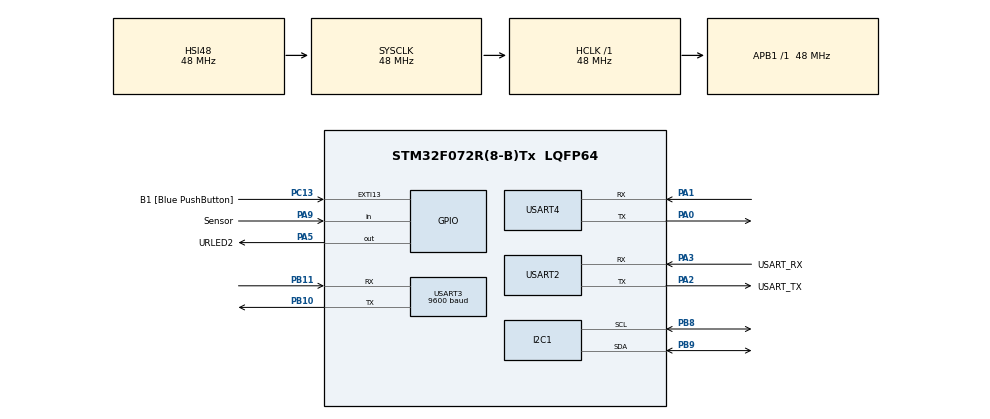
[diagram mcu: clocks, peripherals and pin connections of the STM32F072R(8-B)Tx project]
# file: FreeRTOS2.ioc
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Dma.Request0=USART3_RX
Dma.Request1=USART3_TX
Dma.USART3_RX.0.Direction=DMA_PERIPH_TO_MEMORY
Dma.USART3_RX.0.Instance=DMA1_Channel3
Dma.USART3_RX.0.MemDataAlignment=DMA_MDATAALIGN_BYTE
Dma.USART3_RX.0.MemInc=DMA_MINC_ENABLE
Dma.USART3_RX.0.Mode=DMA_CIRCULAR
Dma.USART3_RX.0.PeriphDataAlignment=DMA_PDATAALIGN_BYTE
Dma.USART3_RX.0.PeriphInc=DMA_PINC_DISABLE
Dma.USART3_RX.0.Priority=DMA_PRIORITY_LOW
Dma.USART3_TX.1.Direction=DMA_MEMORY_TO_PERIPH
Dma.USART3_TX.1.Instance=DMA1_Channel2
Dma.USART3_TX.1.MemDataAlignment=DMA_MDATAALIGN_BYTE
Dma.USART3_TX.1.MemInc=DMA_MINC_ENABLE
Dma.USART3_TX.1.Mode=DMA_NORMAL
Dma.USART3_TX.1.PeriphDataAlignment=DMA_PDATAALIGN_BYTE
Dma.USART3_TX.1.PeriphInc=DMA_PINC_DISABLE
Dma.USART3_TX.1.Priority=DMA_PRIORITY_LOW
FREERTOS.Tasks01=defaultTask,0,128,StartDefaultTask,Default,NULL,Dynamic,NULL,NULL
Mcu.Family=STM32F0
Mcu.Name=STM32F072R(8-B)Tx
Mcu.Package=LQFP64
NVIC.DMA1_Channel2_3_IRQn=true\:3\:0\:false\:false\:true\:true\:false\:true
NVIC.TIM6_DAC_IRQn=true\:0\:0\:false\:false\:true\:false\:false\:true
NVIC.TIM7_IRQn=true\:3\:0\:false\:false\:true\:true\:true\:true
NVIC.TimeBase=TIM6_DAC_IRQn
NVIC.TimeBaseIP=TIM6
NVIC.USART3_4_IRQn=true\:3\:0\:false\:false\:true\:true\:true\:true
PA0.Mode=Asynchronous
PA0.Signal=USART4_TX
PA1.Mode=Asynchronous
PA1.Signal=USART4_RX
PA13.GPIO_Label=TMS
PA13.Mode=Serial_Wire
PA13.Signal=SYS_SWDIO
PA14.GPIO_Label=TCK
PA14.Mode=Serial_Wire
PA14.Signal=SYS_SWCLK
PA2.GPIO_Label=USART_TX
PA2.GPIO_Mode=GPIO_MODE_AF_PP
PA2.GPIO_PuPd=GPIO_NOPULL
PA2.GPIO_Speed=GPIO_SPEED_FREQ_LOW
PA2.Mode=Asynchronous
PA2.Signal=USART2_TX
PA3.GPIO_Label=USART_RX
PA3.GPIO_Mode=GPIO_MODE_AF_PP
PA3.GPIO_PuPd=GPIO_NOPULL
PA3.GPIO_Speed=GPIO_SPEED_FREQ_LOW
PA3.Mode=Asynchronous
PA3.Signal=USART2_RX
PA5.GPIO_Label=URLED2
PA5.GPIO_Mode=GPIO_MODE_OUTPUT_PP
PA5.GPIO_PuPd=GPIO_NOPULL
PA5.GPIO_Speed=GPIO_SPEED_FREQ_LOW
PA5.Signal=GPIO_Output
PA9.GPIO_Label=Sensor
PA9.Signal=GPIO_Input
PB10.Mode=Asynchronous
PB10.Signal=USART3_TX
PB11.Mode=Asynchronous
PB11.Signal=USART3_RX
PB8.Mode=I2C
PB8.Signal=I2C1_SCL
PB9.Mode=I2C
PB9.Signal=I2C1_SDA
PC13.GPIO_Label=B1 [Blue PushButton]
PC13.GPIO_ModeDefaultEXTI=GPIO_MODE_IT_FALLING
PC13.Signal=GPXTI13
PC14-OSC32_IN.Mode=LSE-External-Oscillator
PC14-OSC32_IN.Signal=RCC_OSC32_IN
PC15-OSC32_OUT.Mode=LSE-External-Oscillator
PC15-OSC32_OUT.Signal=RCC_OSC32_OUT
PF0-OSC_IN.Mode=HSE-External-Clock-Source
PF0-OSC_IN.Signal=RCC_OSC_IN
PF1-OSC_OUT.Signal=RCC_OSC_OUT
ProjectManager.HeapSize=0x200
ProjectManager.StackSize=0x400
ProjectManager.TargetToolchain=STM32CubeIDE
RCC.AHBFreq_Value=48000000
RCC.APB1Freq_Value=48000000
RCC.APB1TimFreq_Value=48000000
RCC.FLatency-AdvancedSettings=FLASH_LATENCY_1
RCC.HCLKFreq_Value=48000000
RCC.PLLDivider=RCC_PREDIV_DIV2
RCC.PLLMUL=RCC_PLL_MUL12
RCC.PREFETCH_ENABLE-AdvancedSettings=1
RCC.SYSCLKFreq_VALUE=48000000
RCC.SYSCLKSource=RCC_SYSCLKSOURCE_HSI48
TIM7.Period=9999
TIM7.Prescaler=47
USART2.VirtualMode=VM_ASYNC
USART2.VirtualMode-Asynchronous=VM_ASYNC
USART3.BaudRate=9600
USART3.VirtualMode-Asynchronous=VM_ASYNC
USART4.VirtualMode-Asynchronous=VM_ASYNC
VP_FREERTOS_VS_CMSIS_V1.Mode=CMSIS_V1
VP_SYS_VS_tim6.Mode=TIM6
VP_TIM7_VS_ClockSourceINT.Mode=Enable_Timer
board=NUCLEO-F072RB

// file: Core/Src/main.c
/* USER CODE BEGIN Header */
/**
  ******************************************************************************
  * @file           : main.c
  * @brief          : Main program body
  ******************************************************************************
  * @attention
  *
  * <h2><center>&copy; Copyright (c) 2020 STMicroelectronics.
  * All rights reserved.</center></h2>
  *
  * This software component is licensed by ST under BSD 3-Clause license,
  * the "License"; You may not use this file except in compliance with the
  * License. You may obtain a copy of the License at:
  *                        opensource.org/licenses/BSD-3-Clause
  *
  ******************************************************************************
  */
/* USER CODE END Header */
#include "main.h"
#include "cmsis_os.h"
#include "dma.h"
#include "i2c.h"
#include "tim.h"
#include "usart.h"
#include "gpio.h"

/* USER CODE BEGIN Includes */
#include <stdio.h>
/* USER CODE END Includes */

void SystemClock_Config(void);
void MX_FREERTOS_Init(void);

/* USER CODE BEGIN 0 */
int __io_putchar(int ch) {
	while(HAL_OK != HAL_UART_Transmit(&huart2, (uint8_t*)&ch, 1, 30000)) {

	}

	return ch;
}
/* USER CODE END 0 */

int main(void)
{

  /* MCU Configuration--------------------------------------------------------*/

  /* Reset of all peripherals, Initializes the Flash interface and the Systick. */
  HAL_Init();

  /* Configure the system clock */
  SystemClock_Config();

  /* Initialize all configured peripherals */
  MX_GPIO_Init();
  MX_DMA_Init();
  MX_USART2_UART_Init();
  MX_I2C1_Init();
  MX_USART3_UART_Init();
  MX_TIM7_Init();
  MX_USART4_UART_Init();

  /* Call init function for freertos objects (in freertos.c) */
  MX_FREERTOS_Init();
  /* Start scheduler */
  osKernelStart();

  /* We should never get here as control is now taken by the scheduler */
  /* Infinite loop */
  while (1)
  {

  }
}

void SystemClock_Config(void)
{
  RCC_OscInitTypeDef RCC_OscInitStruct = {0};
  RCC_ClkInitTypeDef RCC_ClkInitStruct = {0};
  RCC_PeriphCLKInitTypeDef PeriphClkInit = {0};

  /** Initializes the RCC Oscillators according to the specified parameters
  * in the RCC_OscInitTypeDef structure.
  */
  RCC_OscInitStruct.OscillatorType = RCC_OSCILLATORTYPE_HSI|RCC_OSCILLATORTYPE_HSI48;
  RCC_OscInitStruct.HSIState = RCC_HSI_ON;
  RCC_OscInitStruct.HSI48State = RCC_HSI48_ON;
  RCC_OscInitStruct.HSICalibrationValue = RCC_HSICALIBRATION_DEFAULT;
  RCC_OscInitStruct.PLL.PLLState = RCC_PLL_NONE;
  if (HAL_RCC_OscConfig(&RCC_OscInitStruct) != HAL_OK)
  {
    Error_Handler();
  }
  /** Initializes the CPU, AHB and APB buses clocks
  */
  RCC_ClkInitStruct.ClockType = RCC_CLOCKTYPE_HCLK|RCC_CLOCKTYPE_SYSCLK
                              |RCC_CLOCKTYPE_PCLK1;
  RCC_ClkInitStruct.SYSCLKSource = RCC_SYSCLKSOURCE_HSI48;
  RCC_ClkInitStruct.AHBCLKDivider = RCC_SYSCLK_DIV1;
  RCC_ClkInitStruct.APB1CLKDivider = RCC_HCLK_DIV1;

  if (HAL_RCC_ClockConfig(&RCC_ClkInitStruct, FLASH_LATENCY_1) != HAL_OK)
  {
    Error_Handler();
  }
  PeriphClkInit.PeriphClockSelection = RCC_PERIPHCLK_USART2|RCC_PERIPHCLK_I2C1;
  PeriphClkInit.Usart2ClockSelection = RCC_USART2CLKSOURCE_PCLK1;
  PeriphClkInit.I2c1ClockSelection = RCC_I2C1CLKSOURCE_HSI;
  if (HAL_RCCEx_PeriphCLKConfig(&PeriphClkInit) != HAL_OK)
  {
    Error_Handler();
  }
}

 /**
  * @brief  Period elapsed callback in non blocking mode
  * @note   This function is called  when TIM6 interrupt took place, inside
  * HAL_TIM_IRQHandler(). It makes a direct call to HAL_IncTick() to increment
  * a global variable "uwTick" used as application time base.
  * @param  htim : TIM handle
  * @retval None
  */
void HAL_TIM_PeriodElapsedCallback(TIM_HandleTypeDef *htim)
{
  if (htim->Instance == TIM6) {
    HAL_IncTick();
  }
  /* USER CODE BEGIN Callback 1 */
  if (htim->Instance == TIM7) {
	  printf("TESTTTESTSETSETEST\r\n");
  }
  /* USER CODE END Callback 1 */
}

void Error_Handler(void)
{
  __disable_irq();
  while (1)
  {
  }
}

/************************ (C) COPYRIGHT STMicroelectronics *****END OF FILE****/

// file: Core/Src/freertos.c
/* USER CODE BEGIN Header */
/**
  ******************************************************************************
  * File Name          : freertos.c
  * Description        : Code for freertos applications
  ******************************************************************************
  * @attention
  *
  * <h2><center>&copy; Copyright (c) 2020 STMicroelectronics.
  * All rights reserved.</center></h2>
  *
  * This software component is licensed by ST under Ultimate Liberty license
  * SLA0044, the "License"; You may not use this file except in compliance with
  * the License. You may obtain a copy of the License at:
  *                             www.st.com/SLA0044
  *
  ******************************************************************************
  */
/* USER CODE END Header */

#include "FreeRTOS.h"
#include "task.h"
#include "main.h"
#include "cmsis_os.h"

/* USER CODE BEGIN Includes */
#include <stdio.h>
#include "SerLCD.h"
#include "i2c.h"
#include "usart.h"
#include "dma.h"
#include "math.h"
/* USER CODE END Includes */

/* USER CODE BEGIN PD */
#define FALSE 0
#define TRUE 1
/* USER CODE END PD */

/* USER CODE BEGIN PM */
uint8_t pir_status = FALSE;	//FALSE->PM2008, TRUE->OTHER

uint8_t mise_buffer[32];
uint8_t mise_send_buffer[7] = {0x42,0x4d,0};

uint8_t co2_buffer[13];
uint8_t co2_result_buffer[9];

uint8_t pm2_5 = 0;
uint8_t pm10 = 0;
char s_pm2_5[3] = "";
char s_pm10[3] = "";

uint8_t counter = 0;
/* USER CODE END PM */

osThreadId defaultTaskHandle;

/* USER CODE BEGIN FunctionPrototypes */
void vTask1(void *pvParameters);
void vTask2(void *pvParameters);

void print_MISE(void);
void write_MISE(char* cmd);
/* USER CODE END FunctionPrototypes */

void StartDefaultTask(void const * argument);

void MX_FREERTOS_Init(void); /* (MISRA C 2004 rule 8.1) */

/* GetIdleTaskMemory prototype (linked to static allocation support) */
void vApplicationGetIdleTaskMemory( StaticTask_t **ppxIdleTaskTCBBuffer, StackType_t **ppxIdleTaskStackBuffer, uint32_t *pulIdleTaskStackSize );

/* USER CODE BEGIN GET_IDLE_TASK_MEMORY */
static StaticTask_t xIdleTaskTCBBuffer;
static StackType_t xIdleStack[configMINIMAL_STACK_SIZE];

void vApplicationGetIdleTaskMemory( StaticTask_t **ppxIdleTaskTCBBuffer, StackType_t **ppxIdleTaskStackBuffer, uint32_t *pulIdleTaskStackSize )
{
  *ppxIdleTaskTCBBuffer = &xIdleTaskTCBBuffer;
  *ppxIdleTaskStackBuffer = &xIdleStack[0];
  *pulIdleTaskStackSize = configMINIMAL_STACK_SIZE;
  /* place for user code */
}
/* USER CODE END GET_IDLE_TASK_MEMORY */

void MX_FREERTOS_Init(void) {
  /* USER CODE BEGIN Init */
	xTaskCreate(vTask1,		/* Pointer to the function that implements the task. */
					"Task 1",	/* text name */
					128,		/* stack depth */
					NULL,		/* task parameter. */
					3,			/* task priority */
					NULL );		/* task handle. */

		/* Create the other task in exactly the same way. */
	xTaskCreate( vTask2, "Task 2", 128, NULL, 3, NULL );
  /* USER CODE END Init */

  /* Create the thread(s) */
  /* definition and creation of defaultTask */
  osThreadDef(defaultTask, StartDefaultTask, osPriorityNormal, 0, 128);
  defaultTaskHandle = osThreadCreate(osThread(defaultTask), NULL);

}

void StartDefaultTask(void const * argument)
{
  for(;;)
  {
    osDelay(1);
  }
}

/* USER CODE BEGIN Application */
void vTask1( void *pvParameters )
{
//	if(HAL_UART_Receive_DMA(&huart3,mise_buffer,32)!=HAL_OK)
//	{
//		printf("fail\r\n");
//	}
//
//	write_MISE("Passive");
	/* infinite loop. */
	for( ;; )
	{
		HAL_UART_Receive_IT(&huart4, co2_buffer, 12);
	}
}

void vTask2( void *pvParameters )
{
	/* infinite loop. */
	for( ;; )
	{
		displayInit(&hi2c1);
//		if(!pir_status) {
//			displayWriteString("PM2.5 : ");
//			displayWriteString(s_pm2_5);
//			displaySetCursor(0, 1);
//			displayWriteString("PM10  : ");
//			displayWriteString(s_pm10);
//		} else {
//			displayWriteString("CO2 : ");
//			displayWriteString(co2_result_buffer);
//		}
//		counter++;
//		if(counter >= 5) {
//			counter = 0;
//			pir_status = ~pir_status;
//		}
////		printf("TEST\r\n");
		HAL_Delay(1000);
	}
}

void print_MISE(void)
{
	uint16_t combine_value, check_byte_receive, check_byte_calculate=0;

	check_byte_receive=mise_buffer[30]<<8|mise_buffer[31];
	for(uint8_t i=0;i<30;i++)
	{
		check_byte_calculate+=mise_buffer[i];
	}

	if(check_byte_receive==check_byte_calculate)
	{
		printf("PM1.0 : %d	",(combine_value=(mise_buffer[10]<<8)|mise_buffer[11]));
		printf("PM2.5 : %d	",(combine_value=(mise_buffer[12]<<8)|mise_buffer[13]));
		printf("PM10 : %d	",(combine_value=(mise_buffer[14]<<8)|mise_buffer[15]));
		printf("0.3um : %d	",(combine_value=(mise_buffer[16]<<8)|mise_buffer[17]));
		printf("0.5um : %d	",(combine_value=(mise_buffer[18]<<8)|mise_buffer[19]));
		printf("1.0um : %d	",(combine_value=(mise_buffer[20]<<8)|mise_buffer[21]));
		printf("2.5um : %d	",(combine_value=(mise_buffer[22]<<8)|mise_buffer[23]));
		printf("5.0um : %d	",(combine_value=(mise_buffer[24]<<8)|mise_buffer[25]));
		printf("10.0um : %d\r\n",(combine_value=(mise_buffer[26]<<8)|mise_buffer[27]));
		pm2_5 = combine_value=((mise_buffer[12]<<8)|mise_buffer[13]);
		pm10 = combine_value=((mise_buffer[14]<<8)|mise_buffer[15]);
	}
	else
	{
	}
}

void write_MISE(char* cmd)
{
	uint16_t verify_byte=0;

	printf("Enter the write_MISE\r\n");

	if(strcmp(cmd,"Read")==0)
	{
		mise_send_buffer[2]=0xe2;
		mise_send_buffer[3]=0x00;
		mise_send_buffer[4]=0x00;
		printf("if's Read\r\n");
	}
	else if(strcmp(cmd,"Passive")==0)
	{
		mise_send_buffer[2]=0xe1;
		mise_send_buffer[3]=0x00;
		mise_send_buffer[4]=0x00;
		printf("if's Passive\r\n");
	}
	else if(strcmp(cmd,"Active")==0)
	{
		mise_send_buffer[2]=0xe1;
		mise_send_buffer[3]=0x00;
		mise_send_buffer[4]=0x01;
		printf("if's Active\r\n");

	}
	else if(strcmp(cmd,"Sleep")==0)
	{
		mise_send_buffer[2]=0xe4;
		mise_send_buffer[3]=0x00;
		mise_send_buffer[4]=0x00;
		printf("if's Sleep\r\n");
	}
	else if(strcmp(cmd,"WakeUp")==0)
	{
		mise_send_buffer[2]=0xe4;
		mise_send_buffer[3]=0x00;
		mise_send_buffer[4]=0x01;
		printf("if's WakeUp\r\n");
	}
	for(uint8_t i=0;i<5;i++)
	{
		verify_byte+=mise_send_buffer[i];
	}
	mise_send_buffer[5]=verify_byte>>8;
	mise_send_buffer[6]=verify_byte;

	while(HAL_UART_GetState(&huart3)!=HAL_UART_STATE_READY)
	{
	}

	if(HAL_UART_Transmit_IT(&huart3,(uint8_t*)mise_send_buffer,7)!=HAL_OK)
	{

	}
	if(strcmp(cmd,"Read")==0)
	{
		while(HAL_UART_GetState(&huart3)!=HAL_UART_STATE_READY)
		{
		}
		if(HAL_UART_Receive_IT(&huart3,mise_send_buffer, 32)!=HAL_OK)
		{

		}
	}

	printf("%d\r\n", mise_send_buffer);
}

void HAL_UART_RxCpltCallback(UART_HandleTypeDef *huart) {
//	if(huart->Instance == USART3) {
//		print_MISE();
//		sprintf(s_pm2_5, "%d", pm2_5);
//		sprintf(s_pm10, "%d", pm10);
//	}

//	if(huart->Instance == USART4) {
//		for(int i=0; i<9; i++) {
//			co2_result_buffer[i] = co2_buffer[i+1];
//		}
//		printf("%s\r\n", co2_result_buffer);
//
//	}
}

void HAL_UART_TxCpltCallback(UART_HandleTypeDef *huart)
{
	if(huart->Instance==USART3)
	{

	}
}

//void HAL_TIM_PeriodElapsedCallback(TIM_HandleTypeDef *htim)
//{
//  if(htim->Instance == TIM7)
//  {
//    printf("5�???? �?????��?��...\r\n");
//  }
//}
/* USER CODE END Application */

/************************ (C) COPYRIGHT STMicroelectronics *****END OF FILE****/
